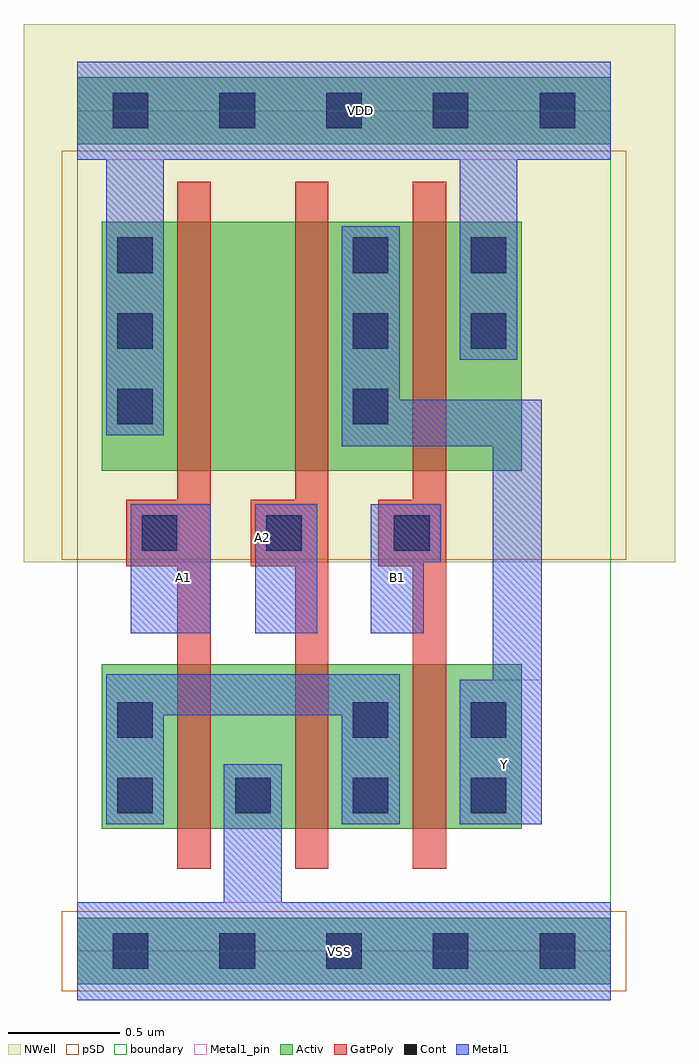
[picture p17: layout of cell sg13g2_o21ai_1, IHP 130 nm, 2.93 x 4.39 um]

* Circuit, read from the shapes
.subckt sg13g2_o21ai_1 A1 A2 B1 VDD VSS Y
XM1 VSS A1 n1 VSS sg13_lv_nmos w=0.74u l=0.15u
XM2 n1 A2 VSS VSS sg13_lv_nmos w=0.74u l=0.15u
XM3 Y B1 n1 VSS sg13_lv_nmos w=0.74u l=0.15u
XM4 n2 A1 VDD VDD sg13_lv_pmos w=1.12u l=0.15u
XM5 Y A2 n2 VDD sg13_lv_pmos w=1.12u l=0.15u
XM6 VDD B1 Y VDD sg13_lv_pmos w=1.12u l=0.15u
.ends

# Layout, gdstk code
import gdstk
lib = gdstk.Library(unit=1e-6, precision=1e-09)
def R(c, l, rs):  # rectangles x0, y0, x1, y1
    for r in rs: c.add(gdstk.rectangle(r[:2], r[2:], *l))
def P(c, l, *ps):  # polygons
    for p in ps: c.add(gdstk.Polygon(p, *l))
Activ = (1, 0)
GatPoly = (5, 0)
Cont = (6, 0)
Metal1 = (8, 0)
Metal1_pin = (8, 2)
pSD = (14, 0)
NWell = (31, 0)
boundary = (189, 4)

sg13g2_o21ai_1 = lib.new_cell('sg13g2_o21ai_1')
R(sg13g2_o21ai_1, Activ, [(0,-0.15,2.4,0.15), (0,-0.15,2.4,0.15), (0.11,0.55,2,1.29), (0.11,0.55,2,1.29), (0.11,2.16,2,3.28), (0.11,2.16,2,3.28), (0,3.63,2.4,3.93), (0,3.63,2.4,3.93)])
R(sg13g2_o21ai_1, GatPoly, [(1.51,0.37,1.66,1.47), (1.51,0.37,1.66,1.47)])
P(sg13g2_o21ai_1, GatPoly, [(0.45,0.37),(0.45,1.73),(0.22,1.73),(0.22,2.03),(0.45,2.03),(0.45,3.46),(0.6,3.46),(0.6,0.37)],
  [(0.98,0.37),(0.98,1.73),(0.78,1.73),(0.78,2.03),(0.98,2.03),(0.98,3.46),(1.13,3.46),(1.13,0.37)],
  [(1.51,1.47),(1.51,1.73),(1.355,1.73),(1.355,2.03),(1.51,2.03),(1.51,3.46),(1.66,3.46),(1.66,1.47)],
  [(0.45,0.37),(0.45,1.73),(0.22,1.73),(0.22,2.03),(0.45,2.03),(0.45,3.46),(0.6,3.46),(0.6,0.37)],
  [(0.98,0.37),(0.98,1.73),(0.78,1.73),(0.78,2.03),(0.98,2.03),(0.98,3.46),(1.13,3.46),(1.13,0.37)],
  [(1.51,1.47),(1.51,1.73),(1.355,1.73),(1.355,2.03),(1.51,2.03),(1.51,3.46),(1.66,3.46),(1.66,1.47)])
R(sg13g2_o21ai_1, Cont, [(0.16,-0.08,0.32,0.08), (0.16,-0.08,0.32,0.08), (0.64,-0.08,0.8,0.08), (0.64,-0.08,0.8,0.08), (1.12,-0.08,1.28,0.08), (1.12,-0.08,1.28,0.08), (1.6,-0.08,1.76,0.08), (1.6,-0.08,1.76,0.08), (2.08,-0.08,2.24,0.08), (2.08,-0.08,2.24,0.08), (0.18,0.62,0.34,0.78), (0.18,0.62,0.34,0.78), (0.71,0.62,0.87,0.78), (0.71,0.62,0.87,0.78), (1.24,0.62,1.4,0.78), (1.24,0.62,1.4,0.78), (1.77,0.62,1.93,0.78), (1.77,0.62,1.93,0.78), (0.18,0.96,0.34,1.12), (0.18,0.96,0.34,1.12), (1.24,0.96,1.4,1.12), (1.24,0.96,1.4,1.12), (1.77,0.96,1.93,1.12), (1.77,0.96,1.93,1.12), (0.29,1.8,0.45,1.96), (0.29,1.8,0.45,1.96), (0.85,1.8,1.01,1.96), (0.85,1.8,1.01,1.96), (1.425,1.8,1.585,1.96), (1.425,1.8,1.585,1.96), (0.18,2.37,0.34,2.53), (0.18,2.37,0.34,2.53), (1.24,2.37,1.4,2.53), (1.24,2.37,1.4,2.53), (0.18,2.71,0.34,2.87), (0.18,2.71,0.34,2.87), (1.24,2.71,1.4,2.87), (1.24,2.71,1.4,2.87), (1.77,2.71,1.93,2.87), (1.77,2.71,1.93,2.87), (0.18,3.05,0.34,3.21), (0.18,3.05,0.34,3.21), (1.24,3.05,1.4,3.21), (1.24,3.05,1.4,3.21), (1.77,3.05,1.93,3.21), (1.77,3.05,1.93,3.21), (0.16,3.7,0.32,3.86), (0.16,3.7,0.32,3.86), (0.64,3.7,0.8,3.86), (0.64,3.7,0.8,3.86), (1.12,3.7,1.28,3.86), (1.12,3.7,1.28,3.86), (1.6,3.7,1.76,3.86), (1.6,3.7,1.76,3.86), (2.08,3.7,2.24,3.86), (2.08,3.7,2.24,3.86)])
R(sg13g2_o21ai_1, Metal1, [(0.24,1.43,0.6,2.01), (0.24,1.43,0.6,2.01), (0.8,1.43,1.08,2.01), (0.8,1.43,1.08,2.01), (1.72,2.66,1.98,3.56), (1.72,2.66,1.98,3.56)])
P(sg13g2_o21ai_1, Metal1, [(0,-0.22),(0,0.22),(0.66,0.22),(0.66,0.84),(0.92,0.84),(0.92,0.22),(2.4,0.22),(2.4,-0.22)],
  [(0.13,2.32),(0.13,3.56),(0,3.56),(0,4),(2.4,4),(2.4,3.56),(0.39,3.56),(0.39,2.32)],
  [(0.13,0.57),(0.13,1.245),(1.45,1.245),(1.45,0.57),(1.19,0.57),(1.19,1.06),(0.39,1.06),(0.39,0.57)],
  [(1.32,1.43),(1.32,2.01),(1.635,2.01),(1.635,1.75),(1.56,1.75),(1.56,1.43)],
  [(1.72,0.57),(1.72,1.22),(1.87,1.22),(1.87,2.27),(1.19,2.27),(1.19,3.26),(1.45,3.26),(1.45,2.48),(2.09,2.48),(2.09,0.57)],
  [(0,-0.22),(0,0.22),(0.66,0.22),(0.66,0.84),(0.92,0.84),(0.92,0.22),(2.4,0.22),(2.4,-0.22)],
  [(0.13,2.32),(0.13,3.56),(0,3.56),(0,4),(2.4,4),(2.4,3.56),(0.39,3.56),(0.39,2.32)],
  [(0.13,0.57),(0.13,1.245),(1.45,1.245),(1.45,0.57),(1.19,0.57),(1.19,1.06),(0.39,1.06),(0.39,0.57)],
  [(1.32,1.43),(1.32,2.01),(1.635,2.01),(1.635,1.75),(1.56,1.75),(1.56,1.43)],
  [(1.72,0.57),(1.72,1.22),(1.87,1.22),(1.87,2.27),(1.19,2.27),(1.19,3.26),(1.45,3.26),(1.45,2.48),(2.09,2.48),(2.09,0.57)])
R(sg13g2_o21ai_1, Metal1_pin, [(0,-0.22,2.4,0.22), (0,-0.22,2.4,0.22), (1.72,0.57,2.09,1.22), (1.72,0.57,2.09,1.22), (0.24,1.43,0.6,2.01), (0.24,1.43,0.6,2.01), (0.8,1.43,1.08,2.01), (0.8,1.43,1.08,2.01), (1.32,1.43,1.56,2.01), (1.32,1.43,1.56,2.01), (0,3.56,2.4,4), (0,3.56,2.4,4)])
R(sg13g2_o21ai_1, pSD, [(-0.07,-0.18,2.47,0.18), (-0.07,-0.18,2.47,0.18), (-0.07,1.76,2.47,3.6), (-0.07,1.76,2.47,3.6)])
R(sg13g2_o21ai_1, NWell, [(-0.24,1.75,2.69,4.17), (-0.24,1.75,2.69,4.17)])
R(sg13g2_o21ai_1, boundary, [(0,0,2.4,3.78), (0,0,2.4,3.78)])
sg13g2_o21ai_1.add(gdstk.Label('VSS', (1.18,0), layer=8, texttype=25))
sg13g2_o21ai_1.add(gdstk.Label('VDD', (1.275,3.78), layer=8, texttype=25))
sg13g2_o21ai_1.add(gdstk.Label('Y', (1.92,0.84), layer=8, texttype=25))
sg13g2_o21ai_1.add(gdstk.Label('B1', (1.44,1.68), layer=8, texttype=25))
sg13g2_o21ai_1.add(gdstk.Label('A2', (0.835,1.86), layer=8, texttype=25))
sg13g2_o21ai_1.add(gdstk.Label('A1', (0.48,1.68), layer=8, texttype=25))
sg13g2_o21ai_1.add(gdstk.Label('VSS', (1.18,0), layer=8, texttype=25))
sg13g2_o21ai_1.add(gdstk.Label('VDD', (1.275,3.78), layer=8, texttype=25))
sg13g2_o21ai_1.add(gdstk.Label('Y', (1.92,0.84), layer=8, texttype=25))
sg13g2_o21ai_1.add(gdstk.Label('B1', (1.44,1.68), layer=8, texttype=25))
sg13g2_o21ai_1.add(gdstk.Label('A2', (0.835,1.86), layer=8, texttype=25))
sg13g2_o21ai_1.add(gdstk.Label('A1', (0.48,1.68), layer=8, texttype=25))

lib.write_gds('sg13g2_o21ai_1.gds')
